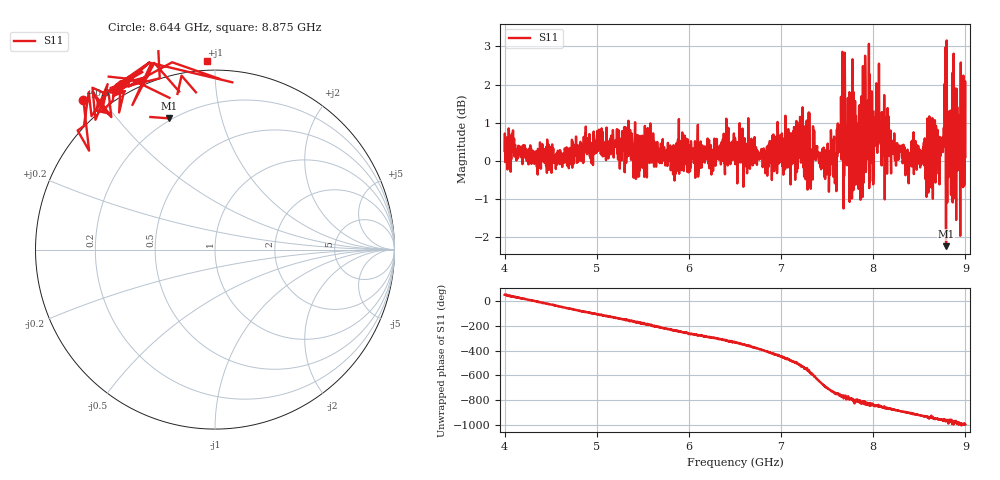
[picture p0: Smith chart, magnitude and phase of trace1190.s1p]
! Created with skrf 1.8.0 (http://scikit-rf.org).
# Hz S RI R 50.0
!freq ReS11 ImS11
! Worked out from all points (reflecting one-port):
!   1601 points, 4 GHz to 9 GHz, reference 50 ohm
!   lowest |S11| = -2.2 dB at 8.791 GHz (marker M1), VSWR 7.84, Z = 9.53 + j34.7 ohm
!   phase of S11 starts at 51 deg and turns -1049 deg over the sweep
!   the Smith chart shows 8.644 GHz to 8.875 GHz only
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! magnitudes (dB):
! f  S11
! 4 GHz  0.3
! 4.625 GHz  -0.2
! 4.897 GHz  0.2
! 5.25 GHz  -0.2
! 5.875 GHz  0.2
! 6.5 GHz  0.6
! 6.825 GHz  0.2
! 7.125 GHz  0.5
! 7.209 GHz  0.7
! 7.262 GHz  0.5
! 7.284 GHz  0.8
! 7.334 GHz  0.0
! 7.372 GHz  0.3
! 7.578 GHz  0.0
! 7.65 GHz  1.7
! 7.703 GHz  0.2
! 7.716 GHz  -0.1
! 7.75 GHz  0.4
! 7.875 GHz  0.2
! 7.928 GHz  1.2
! 7.981 GHz  0.1
! 8.05 GHz  1.3
! 8.375 GHz  0.1
! 8.709 GHz  0.4
! 8.791 GHz  -2.2
! 8.856 GHz  -0.6
! 8.972 GHz  0.5
! 9 GHz  0.1
